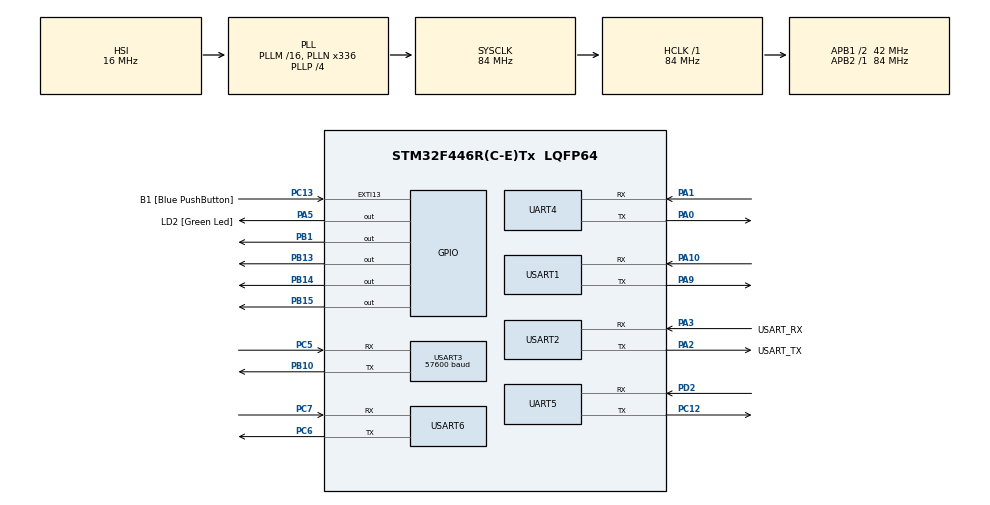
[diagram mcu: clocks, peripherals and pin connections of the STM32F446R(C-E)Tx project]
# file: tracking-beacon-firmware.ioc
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Dma.Request0=USART1_RX
Dma.Request1=UART5_RX
Dma.Request2=USART3_RX
Dma.Request3=USART6_RX
Dma.Request4=USART2_RX
Dma.Request5=USART2_TX
Dma.Request6=USART1_TX
Dma.UART5_RX.1.Direction=DMA_PERIPH_TO_MEMORY
Dma.UART5_RX.1.FIFOMode=DMA_FIFOMODE_DISABLE
Dma.UART5_RX.1.Instance=DMA1_Stream0
Dma.UART5_RX.1.MemDataAlignment=DMA_MDATAALIGN_BYTE
Dma.UART5_RX.1.MemInc=DMA_MINC_ENABLE
Dma.UART5_RX.1.Mode=DMA_NORMAL
Dma.UART5_RX.1.PeriphDataAlignment=DMA_PDATAALIGN_BYTE
Dma.UART5_RX.1.PeriphInc=DMA_PINC_DISABLE
Dma.UART5_RX.1.Priority=DMA_PRIORITY_LOW
Dma.USART1_RX.0.Direction=DMA_PERIPH_TO_MEMORY
Dma.USART1_RX.0.FIFOMode=DMA_FIFOMODE_DISABLE
Dma.USART1_RX.0.Instance=DMA2_Stream2
Dma.USART1_RX.0.MemDataAlignment=DMA_MDATAALIGN_BYTE
Dma.USART1_RX.0.MemInc=DMA_MINC_ENABLE
Dma.USART1_RX.0.Mode=DMA_NORMAL
Dma.USART1_RX.0.PeriphDataAlignment=DMA_PDATAALIGN_BYTE
Dma.USART1_RX.0.PeriphInc=DMA_PINC_DISABLE
Dma.USART1_RX.0.Priority=DMA_PRIORITY_LOW
Dma.USART1_TX.6.Direction=DMA_MEMORY_TO_PERIPH
Dma.USART1_TX.6.FIFOMode=DMA_FIFOMODE_DISABLE
Dma.USART1_TX.6.Instance=DMA2_Stream7
Dma.USART1_TX.6.MemDataAlignment=DMA_MDATAALIGN_BYTE
Dma.USART1_TX.6.MemInc=DMA_MINC_ENABLE
Dma.USART1_TX.6.Mode=DMA_NORMAL
Dma.USART1_TX.6.PeriphDataAlignment=DMA_PDATAALIGN_BYTE
Dma.USART1_TX.6.PeriphInc=DMA_PINC_DISABLE
Dma.USART1_TX.6.Priority=DMA_PRIORITY_LOW
Dma.USART2_RX.4.Direction=DMA_PERIPH_TO_MEMORY
Dma.USART2_RX.4.FIFOMode=DMA_FIFOMODE_DISABLE
Dma.USART2_RX.4.Instance=DMA1_Stream5
Dma.USART2_RX.4.MemDataAlignment=DMA_MDATAALIGN_BYTE
Dma.USART2_RX.4.MemInc=DMA_MINC_ENABLE
Dma.USART2_RX.4.Mode=DMA_NORMAL
Dma.USART2_RX.4.PeriphDataAlignment=DMA_PDATAALIGN_BYTE
Dma.USART2_RX.4.PeriphInc=DMA_PINC_DISABLE
Dma.USART2_RX.4.Priority=DMA_PRIORITY_LOW
Dma.USART2_TX.5.Direction=DMA_MEMORY_TO_PERIPH
Dma.USART2_TX.5.FIFOMode=DMA_FIFOMODE_DISABLE
Dma.USART2_TX.5.Instance=DMA1_Stream6
Dma.USART2_TX.5.MemDataAlignment=DMA_MDATAALIGN_BYTE
Dma.USART2_TX.5.MemInc=DMA_MINC_ENABLE
Dma.USART2_TX.5.Mode=DMA_NORMAL
Dma.USART2_TX.5.PeriphDataAlignment=DMA_PDATAALIGN_BYTE
Dma.USART2_TX.5.PeriphInc=DMA_PINC_DISABLE
Dma.USART2_TX.5.Priority=DMA_PRIORITY_LOW
Dma.USART3_RX.2.Direction=DMA_PERIPH_TO_MEMORY
Dma.USART3_RX.2.FIFOMode=DMA_FIFOMODE_DISABLE
Dma.USART3_RX.2.Instance=DMA1_Stream1
Dma.USART3_RX.2.MemDataAlignment=DMA_MDATAALIGN_BYTE
Dma.USART3_RX.2.MemInc=DMA_MINC_ENABLE
Dma.USART3_RX.2.Mode=DMA_NORMAL
Dma.USART3_RX.2.PeriphDataAlignment=DMA_PDATAALIGN_BYTE
Dma.USART3_RX.2.PeriphInc=DMA_PINC_DISABLE
Dma.USART3_RX.2.Priority=DMA_PRIORITY_LOW
Dma.USART6_RX.3.Direction=DMA_PERIPH_TO_MEMORY
Dma.USART6_RX.3.FIFOMode=DMA_FIFOMODE_DISABLE
Dma.USART6_RX.3.Instance=DMA2_Stream1
Dma.USART6_RX.3.MemDataAlignment=DMA_MDATAALIGN_BYTE
Dma.USART6_RX.3.MemInc=DMA_MINC_ENABLE
Dma.USART6_RX.3.Mode=DMA_NORMAL
Dma.USART6_RX.3.PeriphDataAlignment=DMA_PDATAALIGN_BYTE
Dma.USART6_RX.3.PeriphInc=DMA_PINC_DISABLE
Dma.USART6_RX.3.Priority=DMA_PRIORITY_LOW
Mcu.Family=STM32F4
Mcu.Name=STM32F446R(C-E)Tx
Mcu.Package=LQFP64
NVIC.DMA1_Stream0_IRQn=true\:0\:0\:false\:false\:true\:false\:true\:true
NVIC.DMA1_Stream1_IRQn=true\:0\:0\:false\:false\:true\:false\:true\:true
NVIC.DMA1_Stream5_IRQn=true\:0\:0\:false\:false\:true\:false\:true\:true
NVIC.DMA1_Stream6_IRQn=true\:0\:0\:false\:false\:true\:false\:true\:true
NVIC.DMA2_Stream1_IRQn=true\:0\:0\:false\:false\:true\:false\:true\:true
NVIC.DMA2_Stream2_IRQn=true\:0\:0\:false\:false\:true\:false\:true\:true
NVIC.DMA2_Stream7_IRQn=true\:0\:0\:false\:false\:true\:false\:true\:true
NVIC.PriorityGroup=NVIC_PRIORITYGROUP_0
NVIC.UART5_IRQn=true\:0\:0\:false\:false\:true\:true\:true\:true
NVIC.USART1_IRQn=true\:0\:0\:false\:false\:true\:true\:true\:true
PA0-WKUP.Mode=Asynchronous
PA0-WKUP.Signal=UART4_TX
PA1.Mode=Asynchronous
PA1.Signal=UART4_RX
PA10.Mode=Asynchronous
PA10.Signal=USART1_RX
PA13.GPIO_Label=TMS
PA13.Mode=Serial_Wire
PA13.Signal=SYS_JTMS-SWDIO
PA14.GPIO_Label=TCK
PA14.Mode=Serial_Wire
PA14.Signal=SYS_JTCK-SWCLK
PA2.GPIO_Label=USART_TX
PA2.Mode=Asynchronous
PA2.Signal=USART2_TX
PA3.GPIO_Label=USART_RX
PA3.Mode=Asynchronous
PA3.Signal=USART2_RX
PA5.GPIO_Label=LD2 [Green Led]
PA5.Signal=GPIO_Output
PA9.Mode=Asynchronous
PA9.Signal=USART1_TX
PB1.Signal=GPIO_Output
PB10.Mode=Asynchronous
PB10.Signal=USART3_TX
PB13.Signal=GPIO_Output
PB14.Signal=GPIO_Output
PB15.Signal=GPIO_Output
PB3.GPIO_Label=SWO
PB3.Signal=SYS_JTDO-SWO
PC12.Mode=Asynchronous
PC12.Signal=UART5_TX
PC13.GPIO_Label=B1 [Blue PushButton]
PC13.GPIO_ModeDefaultEXTI=GPIO_MODE_IT_FALLING
PC13.Signal=GPXTI13
PC14-OSC32_IN.Mode=LSE-External-Oscillator
PC14-OSC32_IN.Signal=RCC_OSC32_IN
PC15-OSC32_OUT.Mode=LSE-External-Oscillator
PC15-OSC32_OUT.Signal=RCC_OSC32_OUT
PC5.Mode=Asynchronous
PC5.Signal=USART3_RX
PC6.Mode=Asynchronous
PC6.Signal=USART6_TX
PC7.Mode=Asynchronous
PC7.Signal=USART6_RX
PD2.Mode=Asynchronous
PD2.Signal=UART5_RX
PH0-OSC_IN.Mode=HSE-External-Oscillator
PH0-OSC_IN.Signal=RCC_OSC_IN
PH1-OSC_OUT.Mode=HSE-External-Oscillator
PH1-OSC_OUT.Signal=RCC_OSC_OUT
ProjectManager.HeapSize=0x200
ProjectManager.StackSize=0x400
ProjectManager.TargetToolchain=CMake
RCC.48MHZClocksFreq_Value=84000000
RCC.AHBFreq_Value=84000000
RCC.APB1CLKDivider=RCC_HCLK_DIV2
RCC.APB1Freq_Value=42000000
RCC.APB1TimFreq_Value=84000000
RCC.APB2Freq_Value=84000000
RCC.APB2TimFreq_Value=84000000
RCC.CortexFreq_Value=84000000
RCC.FLatency-AdvancedSettings=FLASH_LATENCY_2
RCC.HCLKFreq_Value=84000000
RCC.HSE_VALUE=8000000
RCC.HSI_VALUE=16000000
RCC.PLLN=336
RCC.PLLP=RCC_PLLP_DIV4
RCC.SYSCLKFreq_VALUE=84000000
RCC.SYSCLKSource=RCC_SYSCLKSOURCE_PLLCLK
RCC.USBFreq_Value=168000000
RCC.VCOOutputFreq_Value=336000000
UART4.VirtualMode=Asynchronous
UART5.VirtualMode=Asynchronous
USART1.VirtualMode=VM_ASYNC
USART2.VirtualMode=VM_ASYNC
USART3.BaudRate=57600
USART3.VirtualMode=VM_ASYNC
USART6.VirtualMode=VM_ASYNC
board=NUCLEO-F446RE

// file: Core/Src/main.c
/* USER CODE BEGIN Header */
/**
  ******************************************************************************
  * @file           : main.c
  * @brief          : Main program body
  ******************************************************************************
  * @attention
  *
  * Copyright (c) 2026 STMicroelectronics.
  * All rights reserved.
  *
  * This software is licensed under terms that can be found in the LICENSE file
  * in the root directory of this software component.
  * If no LICENSE file comes with this software, it is provided AS-IS.
  *
  ******************************************************************************
  */
/* USER CODE END Header */
#include "main.h"

/* USER CODE BEGIN Includes */
#include "passthrough.h"
#include "rssi.h"
#include "stepper.h"
#include "setup.h"
#include "tracker.h"
/* USER CODE END Includes */

UART_HandleTypeDef huart4;
UART_HandleTypeDef huart5;
UART_HandleTypeDef huart1;
UART_HandleTypeDef huart2;
UART_HandleTypeDef huart3;
UART_HandleTypeDef huart6;
DMA_HandleTypeDef hdma_uart4_rx;
DMA_HandleTypeDef hdma_uart5_rx;
DMA_HandleTypeDef hdma_usart1_rx;
DMA_HandleTypeDef hdma_usart1_tx;
DMA_HandleTypeDef hdma_usart2_rx;
DMA_HandleTypeDef hdma_usart2_tx;
DMA_HandleTypeDef hdma_usart3_rx;
DMA_HandleTypeDef hdma_usart6_rx;

void SystemClock_Config(void);
static void MX_GPIO_Init(void);
static void MX_DMA_Init(void);
static void MX_USART2_UART_Init(void);
static void MX_USART1_UART_Init(void);
static void MX_UART5_Init(void);
static void MX_USART3_UART_Init(void);
static void MX_UART4_Init(void);
static void MX_USART6_UART_Init(void);

int main(void)
{

  /* MCU Configuration--------------------------------------------------------*/

  /* Reset of all peripherals, Initializes the Flash interface and the Systick. */
  HAL_Init();

  /* Configure the system clock */
  SystemClock_Config();

  /* Initialize all configured peripherals */
  MX_GPIO_Init();
  MX_DMA_Init();
  MX_USART2_UART_Init();
  MX_USART1_UART_Init();
  MX_UART5_Init();
  MX_USART3_UART_Init();
  MX_UART4_Init();
  MX_USART6_UART_Init();
  /* USER CODE BEGIN 2 */
  Stepper_Init(); //set gpios, pulse width, pulse delay, ...

  //to see the commands, run screen /dev/cu.usbmodem1103 115200 on a seperate terminal
  Setup_ManualAlign(); // blocks until user presses ENTER. uses uart2 to echo keys to the mcu, and translate those to commands for the stepper motor and driver
  Passthrough_Init();
  RSSI_Init();
  Tracker_Init(49.2606f, -123.2460f, 80.0f); /* UBC — update for launch site */
  /* USER CODE END 2 */

  /* Infinite loop */
  while (1)
  {

    /* USER CODE BEGIN 3 */
    RSSI_Poll();
    Tracker_Poll();
    Stepper_Poll();
  }
  /* USER CODE END 3 */
}

void SystemClock_Config(void)
{
  RCC_OscInitTypeDef RCC_OscInitStruct = {0};
  RCC_ClkInitTypeDef RCC_ClkInitStruct = {0};

  /** Configure the main internal regulator output voltage
  */
  __HAL_RCC_PWR_CLK_ENABLE();
  __HAL_PWR_VOLTAGESCALING_CONFIG(PWR_REGULATOR_VOLTAGE_SCALE3);

  /** Initializes the RCC Oscillators according to the specified parameters
  * in the RCC_OscInitTypeDef structure.
  */
  RCC_OscInitStruct.OscillatorType = RCC_OSCILLATORTYPE_HSI;
  RCC_OscInitStruct.HSIState = RCC_HSI_ON;
  RCC_OscInitStruct.HSICalibrationValue = RCC_HSICALIBRATION_DEFAULT;
  RCC_OscInitStruct.PLL.PLLState = RCC_PLL_ON;
  RCC_OscInitStruct.PLL.PLLSource = RCC_PLLSOURCE_HSI;
  RCC_OscInitStruct.PLL.PLLM = 16;
  RCC_OscInitStruct.PLL.PLLN = 336;
  RCC_OscInitStruct.PLL.PLLP = RCC_PLLP_DIV4;
  RCC_OscInitStruct.PLL.PLLQ = 2;
  RCC_OscInitStruct.PLL.PLLR = 2;
  if (HAL_RCC_OscConfig(&RCC_OscInitStruct) != HAL_OK)
  {
    Error_Handler();
  }

  /** Initializes the CPU, AHB and APB buses clocks
  */
  RCC_ClkInitStruct.ClockType = RCC_CLOCKTYPE_HCLK|RCC_CLOCKTYPE_SYSCLK
                              |RCC_CLOCKTYPE_PCLK1|RCC_CLOCKTYPE_PCLK2;
  RCC_ClkInitStruct.SYSCLKSource = RCC_SYSCLKSOURCE_PLLCLK;
  RCC_ClkInitStruct.AHBCLKDivider = RCC_SYSCLK_DIV1;
  RCC_ClkInitStruct.APB1CLKDivider = RCC_HCLK_DIV2;
  RCC_ClkInitStruct.APB2CLKDivider = RCC_HCLK_DIV1;

  if (HAL_RCC_ClockConfig(&RCC_ClkInitStruct, FLASH_LATENCY_2) != HAL_OK)
  {
    Error_Handler();
  }
}

static void MX_UART4_Init(void)
{

  huart4.Instance = UART4;
  huart4.Init.BaudRate = 57600;
  huart4.Init.WordLength = UART_WORDLENGTH_8B;
  huart4.Init.StopBits = UART_STOPBITS_1;
  huart4.Init.Parity = UART_PARITY_NONE;
  huart4.Init.Mode = UART_MODE_TX_RX;
  huart4.Init.HwFlowCtl = UART_HWCONTROL_NONE;
  huart4.Init.OverSampling = UART_OVERSAMPLING_16;
  if (HAL_UART_Init(&huart4) != HAL_OK)
  {
    Error_Handler();
  }

}

static void MX_UART5_Init(void)
{

  huart5.Instance = UART5;
  huart5.Init.BaudRate = 57600;
  huart5.Init.WordLength = UART_WORDLENGTH_8B;
  huart5.Init.StopBits = UART_STOPBITS_1;
  huart5.Init.Parity = UART_PARITY_NONE;
  huart5.Init.Mode = UART_MODE_TX_RX;
  huart5.Init.HwFlowCtl = UART_HWCONTROL_NONE;
  huart5.Init.OverSampling = UART_OVERSAMPLING_16;
  if (HAL_UART_Init(&huart5) != HAL_OK)
  {
    Error_Handler();
  }

}

static void MX_USART1_UART_Init(void)
{

  huart1.Instance = USART1;
  huart1.Init.BaudRate = 57600;
  huart1.Init.WordLength = UART_WORDLENGTH_8B;
  huart1.Init.StopBits = UART_STOPBITS_1;
  huart1.Init.Parity = UART_PARITY_NONE;
  huart1.Init.Mode = UART_MODE_TX_RX;
  huart1.Init.HwFlowCtl = UART_HWCONTROL_NONE;
  huart1.Init.OverSampling = UART_OVERSAMPLING_16;
  if (HAL_UART_Init(&huart1) != HAL_OK)
  {
    Error_Handler();
  }

}

static void MX_USART2_UART_Init(void)
{

  huart2.Instance = USART2;
  huart2.Init.BaudRate = 115200;
  huart2.Init.WordLength = UART_WORDLENGTH_8B;
  huart2.Init.StopBits = UART_STOPBITS_1;
  huart2.Init.Parity = UART_PARITY_NONE;
  huart2.Init.Mode = UART_MODE_TX_RX;
  huart2.Init.HwFlowCtl = UART_HWCONTROL_NONE;
  huart2.Init.OverSampling = UART_OVERSAMPLING_16;
  if (HAL_UART_Init(&huart2) != HAL_OK)
  {
    Error_Handler();
  }

}

static void MX_USART3_UART_Init(void)
{

  huart3.Instance = USART3;
  huart3.Init.BaudRate = 57600;
  huart3.Init.WordLength = UART_WORDLENGTH_8B;
  huart3.Init.StopBits = UART_STOPBITS_1;
  huart3.Init.Parity = UART_PARITY_NONE;
  huart3.Init.Mode = UART_MODE_TX_RX;
  huart3.Init.HwFlowCtl = UART_HWCONTROL_NONE;
  huart3.Init.OverSampling = UART_OVERSAMPLING_16;
  if (HAL_UART_Init(&huart3) != HAL_OK)
  {
    Error_Handler();
  }

}

static void MX_USART6_UART_Init(void)
{

  huart6.Instance = USART6;
  huart6.Init.BaudRate = 57600;
  huart6.Init.WordLength = UART_WORDLENGTH_8B;
  huart6.Init.StopBits = UART_STOPBITS_1;
  huart6.Init.Parity = UART_PARITY_NONE;
  huart6.Init.Mode = UART_MODE_TX_RX;
  huart6.Init.HwFlowCtl = UART_HWCONTROL_NONE;
  huart6.Init.OverSampling = UART_OVERSAMPLING_16;
  if (HAL_UART_Init(&huart6) != HAL_OK)
  {
    Error_Handler();
  }

}

static void MX_DMA_Init(void)
{

  /* DMA controller clock enable */
  __HAL_RCC_DMA2_CLK_ENABLE();
  __HAL_RCC_DMA1_CLK_ENABLE();

  /* DMA interrupt init */
  /* DMA1_Stream0_IRQn interrupt configuration */
  HAL_NVIC_SetPriority(DMA1_Stream0_IRQn, 0, 0);
  HAL_NVIC_EnableIRQ(DMA1_Stream0_IRQn);
  /* DMA1_Stream1_IRQn interrupt configuration */
  HAL_NVIC_SetPriority(DMA1_Stream1_IRQn, 0, 0);
  HAL_NVIC_EnableIRQ(DMA1_Stream1_IRQn);
  /* DMA1_Stream2_IRQn interrupt configuration */
  HAL_NVIC_SetPriority(DMA1_Stream2_IRQn, 0, 0);
  HAL_NVIC_EnableIRQ(DMA1_Stream2_IRQn);
  /* DMA1_Stream5_IRQn interrupt configuration */
  HAL_NVIC_SetPriority(DMA1_Stream5_IRQn, 0, 0);
  HAL_NVIC_EnableIRQ(DMA1_Stream5_IRQn);
  /* DMA1_Stream6_IRQn interrupt configuration */
  HAL_NVIC_SetPriority(DMA1_Stream6_IRQn, 0, 0);
  HAL_NVIC_EnableIRQ(DMA1_Stream6_IRQn);
  /* DMA2_Stream1_IRQn interrupt configuration */
  HAL_NVIC_SetPriority(DMA2_Stream1_IRQn, 0, 0);
  HAL_NVIC_EnableIRQ(DMA2_Stream1_IRQn);
  /* DMA2_Stream2_IRQn interrupt configuration */
  HAL_NVIC_SetPriority(DMA2_Stream2_IRQn, 0, 0);
  HAL_NVIC_EnableIRQ(DMA2_Stream2_IRQn);
  /* DMA2_Stream7_IRQn interrupt configuration */
  HAL_NVIC_SetPriority(DMA2_Stream7_IRQn, 0, 0);
  HAL_NVIC_EnableIRQ(DMA2_Stream7_IRQn);

}

static void MX_GPIO_Init(void)
{
  GPIO_InitTypeDef GPIO_InitStruct = {0};

  /* GPIO Ports Clock Enable */
  __HAL_RCC_GPIOC_CLK_ENABLE();
  __HAL_RCC_GPIOH_CLK_ENABLE();
  __HAL_RCC_GPIOA_CLK_ENABLE();
  __HAL_RCC_GPIOB_CLK_ENABLE();
  __HAL_RCC_GPIOD_CLK_ENABLE();

  /*Configure GPIO pin Output Level */
  HAL_GPIO_WritePin(LD2_GPIO_Port, LD2_Pin, GPIO_PIN_RESET);

  /*Configure GPIO pin Output Level */
  HAL_GPIO_WritePin(GPIOB, GPIO_PIN_1|GPIO_PIN_13|GPIO_PIN_14|GPIO_PIN_15, GPIO_PIN_RESET);

  /*Configure GPIO pin : B1_Pin */
  GPIO_InitStruct.Pin = B1_Pin;
  GPIO_InitStruct.Mode = GPIO_MODE_IT_FALLING;
  GPIO_InitStruct.Pull = GPIO_NOPULL;
  HAL_GPIO_Init(B1_GPIO_Port, &GPIO_InitStruct);

  /*Configure GPIO pin : LD2_Pin */
  GPIO_InitStruct.Pin = LD2_Pin;
  GPIO_InitStruct.Mode = GPIO_MODE_OUTPUT_PP;
  GPIO_InitStruct.Pull = GPIO_NOPULL;
  GPIO_InitStruct.Speed = GPIO_SPEED_FREQ_LOW;
  HAL_GPIO_Init(LD2_GPIO_Port, &GPIO_InitStruct);

  /*Configure GPIO pins : PB1 PB13 PB14 PB15 */
  GPIO_InitStruct.Pin = GPIO_PIN_1|GPIO_PIN_13|GPIO_PIN_14|GPIO_PIN_15;
  GPIO_InitStruct.Mode = GPIO_MODE_OUTPUT_PP;
  GPIO_InitStruct.Pull = GPIO_NOPULL;
  GPIO_InitStruct.Speed = GPIO_SPEED_FREQ_LOW;
  HAL_GPIO_Init(GPIOB, &GPIO_InitStruct);

}

/* USER CODE BEGIN 4 */
void HAL_UARTEx_RxEventCallback(UART_HandleTypeDef *huart, uint16_t Size)
{
  Passthrough_HandleRxEvent(huart, Size);
  RSSI_HandleRxEvent(huart, Size);
  Tracker_HandleRxEvent(huart, Size);
}

void HAL_UART_TxCpltCallback(UART_HandleTypeDef *huart)
{
  Passthrough_HandleTxCplt(huart);
}
/* USER CODE END 4 */

void Error_Handler(void)
{
  __disable_irq();
  while (1)
  {
  }
}
